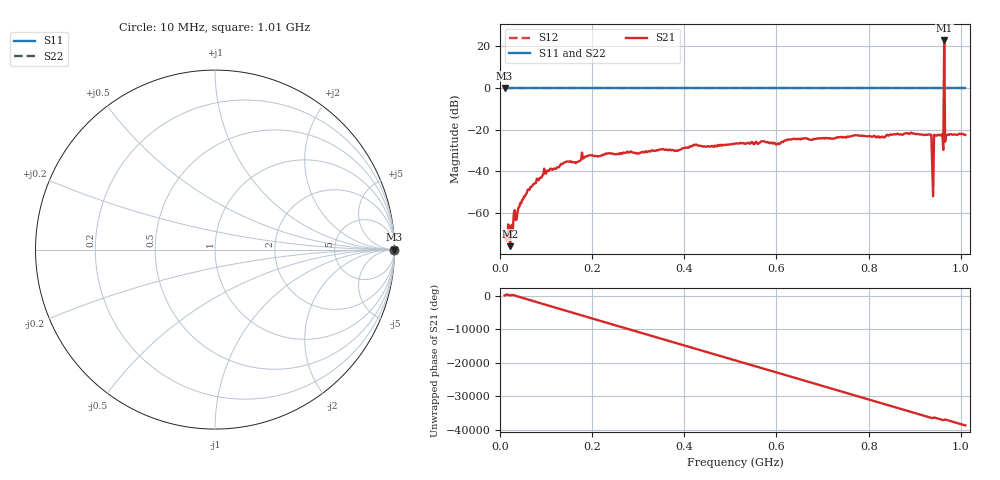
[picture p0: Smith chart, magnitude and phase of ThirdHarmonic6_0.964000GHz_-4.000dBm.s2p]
! 8/16/2025 7:11:33 AM
! C:\ANRITSUVNA\TEMP\TEMP.S2P
! CHANNEL.1
! TR.MEASUREMENT
! RAW.DATA
! RF.CORRECTION.OFF
! AVERAGING.OFF
! IF.BANDWIDTH: 5KHZ
! SWEEPTYPE:  FREQ.SWEEP(Linear)
! Reference Plane Port Info
! PORT:  PORT1  PORT2
! DISTANCE:  0  m  0  m
! TIME:  0  s  0  s
! PHASE.OFFSET:  0  deg.  0  deg.
! LOSS:  0  dB  0  dB
! REF.LOSS:  0  dB  0  dB
! REF.FREQ:  0  Hz  0  Hz
! Power Info
! POWER:  -20  dBm  -20  dBm
! EFF.POWER:  -20  dBm  -20  dBm
! SOURCE.ATTEN:  0  dB  0  dB
! TEST.ATTEN:  0  dB  0  dB
# GHZ S RI R 50.0
! FREQ.GHZ  S11RE  S11IM  S21RE  S21IM  S12RE  S12IM  S22RE  S22IM
!; PortSelection: Port_12
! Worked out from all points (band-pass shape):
!   501 points, 10 MHz to 1.01 GHz, reference 50 ohm
!   highest |S21| = 22.79 dB at 964 MHz (marker M1); lowest = -76.0 dB at 22 MHz (marker M2)
!   |S21| within 3 dB of the highest: 963.8859 MHz to 964.1234 MHz (237.4 kHz wide, 0.0246 % of centre)
!   lowest |S11| = 0.0 dB at 10 MHz (marker M3)
!   |S11| at or under -10 dB: nowhere
!   |S22| runs from 0.0 to 0.0 dB; largest |S21 - S12| = 13
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0.01  1 0  0.000229 0.000176  1 0  1 0
0.018  1 0  -0.000526 -4.39e-05  1 0  1 0
0.022  1 0  9.17e-05 0.000128  1 0  1 0
0.024  1 0  0.000152 0.000451  1 0  1 0
0.028  1 0  -0.000403 4.19e-05  1 0  1 0
0.048  1 0  0.000673 0.00191  1 0  1 0
0.092  1 0  0.00116 0.0076  1 0  1 0
0.178  1 0  -0.026 -0.0106  1 0  1 0
0.344  1 0  0.0315 -0.00447  1 0  1 0
0.51  1 0  -0.0445 0.0117  1 0  1 0
0.678  1 0  -0.0175 -0.0539  1 0  1 0
0.844  1 0  0.0409 0.0583  1 0  1 0
0.932  1 0  -0.0191 0.0739  1 0  1 0
0.936  1 0  0.039 -0.0632  1 0  1 0
0.942  1 0  0.0347 0.0659  1 0  1 0
0.946  1 0  -0.0106 -0.0707  1 0  1 0
0.958  1 0  -0.0609 0.0453  1 0  1 0
0.96  1 0  0.0369 0.0685  1 0  1 0
0.964  1 0  7.968 11.24  1 0  1 0
0.968  1 0  -0.00951 0.0737  1 0  1 0
0.97  1 0  0.0695 0.0233  1 0  1 0
1.01  1 0  -0.0668 -0.0317  1 0  1 0
